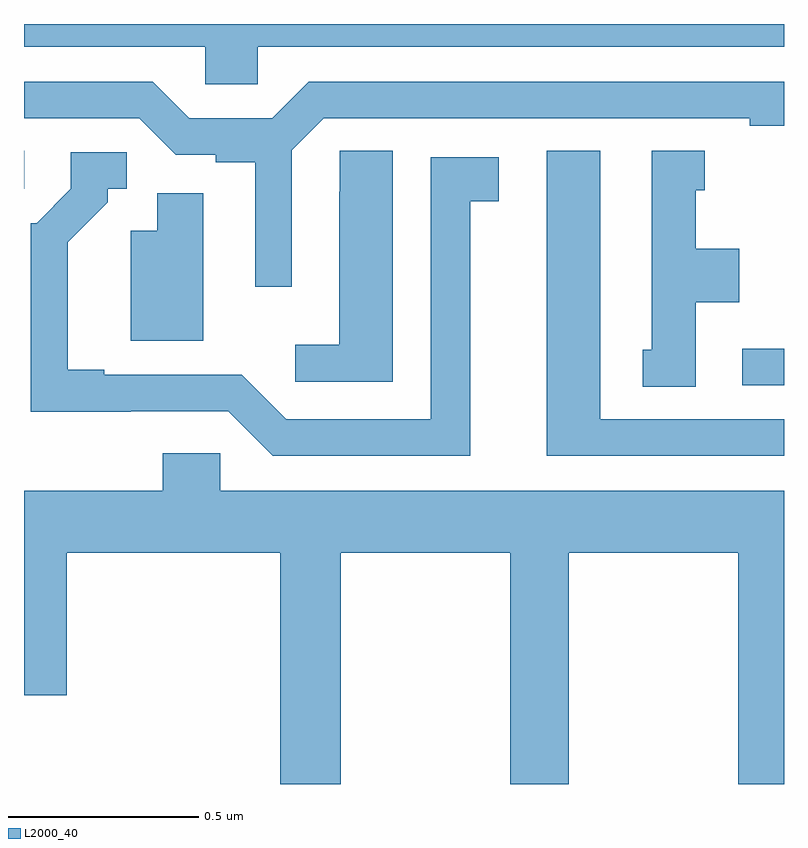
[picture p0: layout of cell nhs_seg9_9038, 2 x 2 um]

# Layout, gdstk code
import gdstk
lib = gdstk.Library(unit=1e-6, precision=1e-09)
def R(c, l, rs):  # rectangles x0, y0, x1, y1
    for r in rs: c.add(gdstk.rectangle(r[:2], r[2:], *l))
def P(c, l, *ps):  # polygons
    for p in ps: c.add(gdstk.Polygon(p, *l))
L2000_40 = (2000, 40)

nhs_seg9_9038 = lib.new_cell('nhs_seg9_9038')
R(nhs_seg9_9038, L2000_40, [(226.89,1175.55,227,1175.646), (225,1176.066,225.001,1176.167)])
P(nhs_seg9_9038, L2000_40, [(225.615,1176.44),(227,1176.44),(227,1176.5),(225,1176.5),(225,1176.44),(225.477,1176.44),(225.477,1176.342),(225.615,1176.342)],
  [(225.705,1176.168),(225.789,1176.252),(226.91,1176.252),(226.91,1176.232),(227,1176.232),(227,1176.348),(225.749,1176.348),(225.653,1176.252),(225.435,1176.252),(225.339,1176.348),(225,1176.348),(225,1176.252),(225.303,1176.252),(225.399,1176.156),(225.504,1176.156),(225.504,1176.136),(225.608,1176.136),(225.608,1175.808),(225.705,1175.808)],
  [(225.97,1176.167),(225.831,1176.167),(225.831,1176.059),(225.83,1176.059),(225.83,1175.656),(225.714,1175.656),(225.714,1175.559),(225.97,1175.559)],
  [(226.768,1175.768),(226.882,1175.768),(226.882,1175.908),(226.768,1175.908),(226.768,1176.063),(226.792,1176.063),(226.792,1176.166),(226.652,1176.166),(226.652,1175.643),(226.628,1175.643),(226.628,1175.545),(226.768,1175.545)],
  [(227,1175.46),(226.516,1175.46),(226.516,1176.166),(226.376,1176.166),(226.376,1175.364),(227,1175.364)],
  [(226.174,1176.034),(226.249,1176.034),(226.249,1176.15),(226.07,1176.15),(226.07,1175.46),(225.69,1175.46),(225.573,1175.577),(225.211,1175.577),(225.211,1175.59),(225.115,1175.59),(225.115,1175.926),(225.22,1176.031),(225.22,1176.066),(225.27,1176.066),(225.27,1176.162),(225.123,1176.162),(225.123,1176.066),(225.033,1175.976),(225.018,1175.976),(225.018,1175.48),(225.281,1175.48),(225.281,1175.481),(225.537,1175.481),(225.654,1175.364),(226.174,1175.364)],
  [(225.472,1176.054),(225.35,1176.054),(225.35,1175.956),(225.281,1175.956),(225.281,1175.666),(225.472,1175.666)],
  [(225.834,1175.108),(226.279,1175.108),(226.279,1174.5),(226.434,1174.5),(226.434,1175.108),(226.879,1175.108),(226.879,1174.5),(227,1174.5),(227,1175.272),(225.516,1175.272),(225.516,1175.37),(225.365,1175.37),(225.365,1175.272),(225,1175.272),(225,1174.734),(225.112,1174.734),(225.112,1175.108),(225.674,1175.108),(225.674,1174.5),(225.834,1174.5)])

lib.write_gds('nhs_seg9_9038.gds')
